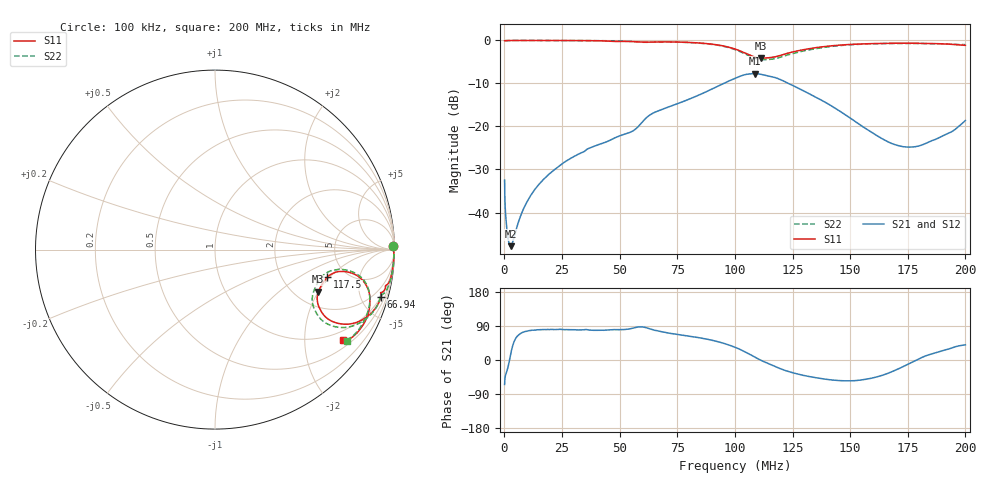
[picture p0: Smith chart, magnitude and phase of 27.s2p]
#  HZ  S  RI  R  50.00
! Rohde & Schwarz Vector Network Analyzer
! Rohde-Schwarz,ZNLE6-2Port,1323001256200024,1.71.1.10-23.02.1.238
! Created: UTC 4/7/2025, 6:07:33 AM
! freq[Hz]  re:S11  im:S11  re:S21  im:S21  re:S12  im:S12  re:S22  im:S22
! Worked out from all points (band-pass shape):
!   1001 points, 100 kHz to 200 MHz, reference 50 ohm
!   highest |S21| = -7.70 dB at 108.9 MHz (marker M1); lowest = -47.8 dB at 2.687 MHz (marker M2)
!   |S21| within 3 dB of the highest: 92.42 MHz to 126 MHz (33.54 MHz wide, 30.7 % of centre)
!   lowest |S11| = -4.1 dB at 111.4 MHz (marker M3), VSWR 4.28, Z = 131 - j99.7 ohm
!   |S11| at or under -10 dB: nowhere
!   |S22| runs from -4.5 to 0.0 dB; largest |S21 - S12| = 0.0093
!   S11 on the Smith chart (normalised r, x): 100 kHz: 36, +77; 66.94 MHz: 1.05, -7.04; 117.5 MHz: 3.57, -1.88; 200 MHz: 0.70, -3.01
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100000  0.9899 0.0212  0.0103 -0.0215  0.0103 -0.0216  0.99 0.0212
355854.1  0.9916 0.00694  0.00833 -0.00789  0.00835 -0.00791  0.9919 0.00695
1266322  0.9948 -0.000662  0.00521 -0.00257  0.00522 -0.00258  0.9949 -0.000815
2687485  0.9961 -0.00822  0.00394 0.00102  0.00396 0.000934  0.9963 -0.00785
3375801  0.9961 -0.0114  0.00367 0.00236  0.00368 0.00232  0.9969 -0.0105
4472136  0.9964 -0.0161  0.00339 0.00433  0.00343 0.00429  0.9973 -0.0149
1.591428e7  0.9949 -0.063  0.00392 0.0223  0.00415 0.0222  0.9953 -0.0642
3.562019e7  0.9809 -0.1476  0.009 0.0531  0.0104 0.0526  0.982 -0.1477
5.663162e7  0.9354 -0.235  0.00734 0.0917  0.0099 0.091  0.9316 -0.2503
6.693938e7  0.9239 -0.2619  0.0361 0.148  0.0428 0.1467  0.9183 -0.272
8.21882e7  0.8725 -0.3517  0.1058 0.1913  0.112 0.1882  0.8615 -0.3683
9.568197e7  0.7461 -0.415  0.2347 0.2189  0.2413 0.2135  0.7261 -0.4337
1.016807e8  0.6526 -0.3998  0.3289 0.1857  0.3339 0.1788  0.627 -0.4147
1.088799e8  0.5701 -0.2857  0.4089 0.0498  0.4122 0.0427  0.5423 -0.2943
1.113911e8  0.5756 -0.2344  0.4026 -0.0075  0.405 -0.0156  0.5472 -0.2413
1.174784e8  0.6257 -0.1538  0.3534 -0.1087  0.3504 -0.1154  0.5939 -0.1522
1.27723e8  0.7496 -0.1275  0.2187 -0.1688  0.2146 -0.1702  0.7238 -0.1127
1.431478e8  0.8459 -0.2049  0.0984 -0.1324  0.0947 -0.1332  0.8379 -0.1827
1.628929e8  0.8594 -0.3322  0.0551 -0.0503  0.0526 -0.0519  0.8588 -0.3173
1.717946e8  0.8437 -0.3842  0.0551 -0.0211  0.0539 -0.0231  0.8425 -0.3716
1.82565e8  0.8093 -0.4417  0.0621 0.0114  0.0623 0.00881  0.8098 -0.4321
2e8  0.7153 -0.5038  0.0899 0.0754  0.0948 0.0715  0.7337 -0.5082
